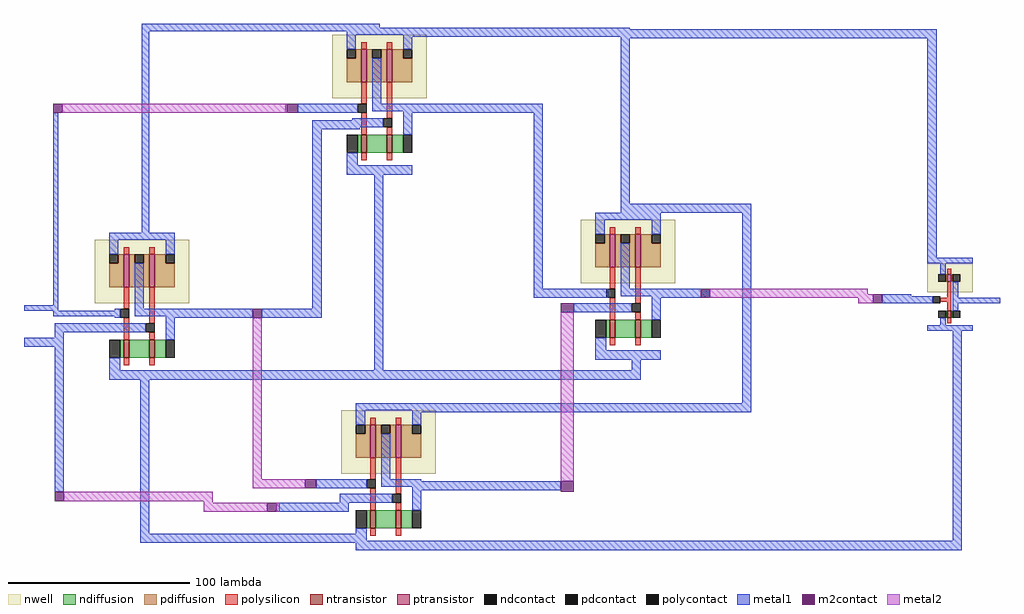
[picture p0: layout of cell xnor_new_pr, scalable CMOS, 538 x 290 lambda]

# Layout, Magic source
magic
tech scmos
<< metal1 >>
rect 309 280 483 285
rect 478 156 483 280
rect 453 138 469 139
rect 453 134 481 138
rect 500 134 518 137
rect -20 130 -1 133
rect -20 110 2 115
rect 492 3 497 122
rect 193 -2 497 3
<< m2contact >>
rect 353 137 358 142
rect 448 134 453 139
<< metal2 >>
rect 358 139 445 142
rect 358 137 448 139
rect 440 134 448 137
use inverter_unlab_pr  inverter_unlab_pr_0
transform 1 0 487 0 1 139
box -9 -20 16 20
use xor_pr_new  xor_pr_new_0
transform 1 0 26 0 1 95
box -30 -97 355 193
<< end >>

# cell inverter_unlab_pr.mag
magic
tech scmos
<< nwell >>
rect -9 1 16 17
<< ntransistor >>
rect 2 -13 4 -9
<< ptransistor >>
rect 2 7 4 11
<< ndiffusion >>
rect 1 -13 2 -9
rect 4 -13 5 -9
<< pdiffusion >>
rect 1 7 2 11
rect 4 7 5 11
<< ndcontact >>
rect -3 -13 1 -9
rect 5 -13 9 -9
<< pdcontact >>
rect -3 7 1 11
rect 5 7 9 11
<< polysilicon >>
rect 2 11 4 14
rect 2 -2 4 7
rect -2 -4 4 -2
rect 2 -9 4 -4
rect 2 -16 4 -13
<< polycontact >>
rect -6 -5 -2 -1
<< metal1 >>
rect -9 17 16 20
rect -2 11 1 17
rect -8 -5 -6 -1
rect 5 -2 8 7
rect 5 -5 16 -2
rect 5 -9 8 -5
rect -2 -17 1 -13
rect -9 -20 16 -17
<< end >>

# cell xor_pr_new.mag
magic
tech scmos
<< metal1 >>
rect 19 189 150 193
rect -30 35 -27 144
rect 19 74 23 189
rect 163 186 288 191
rect 98 144 99 149
rect 105 144 138 149
rect 163 144 240 149
rect 113 135 139 140
rect 113 36 118 135
rect -30 32 7 35
rect 32 31 80 36
rect 85 31 118 36
rect -29 23 9 28
rect -29 -65 -24 23
rect 147 2 152 115
rect 235 47 240 144
rect 283 94 288 186
rect 283 89 355 94
rect 283 86 288 89
rect 235 42 276 47
rect 300 42 332 47
rect 257 34 277 39
rect 289 2 294 13
rect 18 -88 23 2
rect 32 -3 294 2
rect 350 -16 355 89
rect 168 -21 355 -16
rect 115 -63 143 -58
rect 168 -64 250 -59
rect 128 -71 145 -66
rect 93 -76 133 -71
rect 18 -93 141 -88
<< m2contact >>
rect -30 144 -25 149
rect 99 144 105 149
rect 80 31 85 36
rect 250 34 257 39
rect -29 -70 -24 -65
rect 109 -63 115 -58
rect 250 -65 257 -59
rect 88 -76 93 -71
<< metal2 >>
rect -25 144 99 149
rect 80 -58 85 31
rect 80 -63 109 -58
rect 250 -59 257 34
rect -24 -70 58 -65
rect 53 -71 58 -70
rect 53 -76 88 -71
rect 93 -76 95 -71
use nand_unlab_pr  nand_unlab_pr_3
transform 1 0 285 0 1 59
box -24 -51 28 30
use nand_unlab_pr  nand_unlab_pr_2
transform 1 0 153 0 1 -46
box -24 -51 28 30
use nand_unlab_pr  nand_unlab_pr_1
transform 1 0 148 0 1 161
box -24 -51 28 30
use nand_unlab_pr  nand_unlab_pr_0
transform 1 0 17 0 1 48
box -24 -51 28 30
<< end >>

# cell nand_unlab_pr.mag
magic
tech scmos
<< nwell >>
rect -24 -9 28 26
<< ntransistor >>
rect -8 -39 -5 -29
rect 6 -39 9 -29
<< ptransistor >>
rect -8 0 -5 18
rect 6 0 9 18
<< ndiffusion >>
rect -10 -39 -8 -29
rect -5 -39 6 -29
rect 9 -39 15 -29
<< pdiffusion >>
rect -11 13 -8 18
rect -16 0 -8 13
rect -5 13 -2 18
rect 3 13 6 18
rect -5 0 6 13
rect 9 13 15 18
rect 9 0 20 13
<< ndcontact >>
rect -16 -39 -10 -29
rect 15 -39 20 -29
<< pdcontact >>
rect -16 13 -11 18
rect -2 13 3 18
rect 15 13 20 18
<< polysilicon >>
rect -8 18 -5 22
rect 6 18 9 22
rect -8 -12 -5 0
rect -8 -29 -5 -17
rect 6 -20 9 0
rect 6 -29 9 -25
rect -8 -43 -5 -39
rect 6 -43 9 -39
<< polycontact >>
rect -10 -17 -5 -12
rect 4 -25 9 -20
<< metal1 >>
rect -16 26 20 30
rect -16 18 -11 26
rect 15 18 20 26
rect -2 -12 3 13
rect -13 -17 -10 -12
rect -2 -16 20 -12
rect -13 -25 4 -20
rect 15 -29 20 -16
rect -16 -46 -10 -39
rect -16 -51 20 -46
<< end >>
